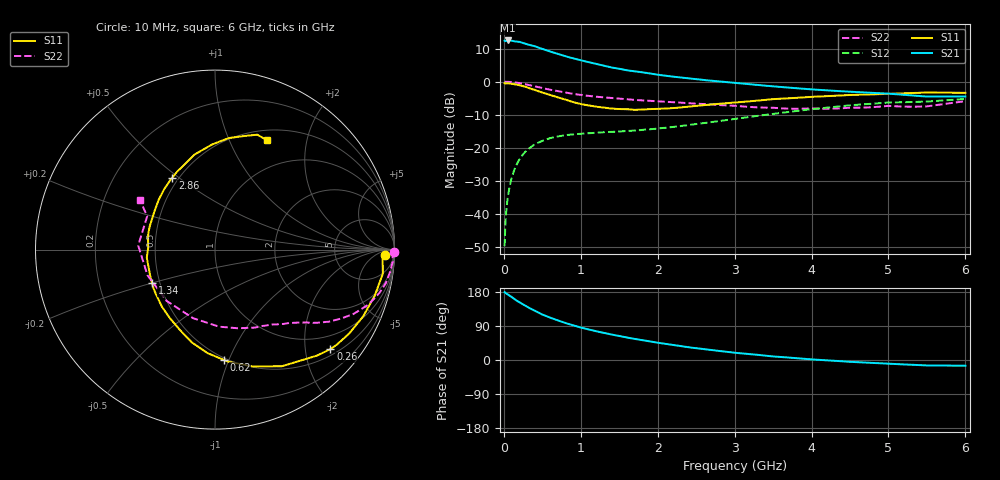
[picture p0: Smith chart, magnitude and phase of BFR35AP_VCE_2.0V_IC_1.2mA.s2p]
! Infineon Technologies  Discrete & RF Semiconductors
! BFR35AP
! VCE =  2.0 V,  IC =  1.2 mA
! Common Emitter S-Parameters:  Nov 2015
# GHz  S  MA  R  50
!  f  S11  S21  S12  S22
! GHz  MAG  ANG  MAG  ANG  MAG  ANG  MAG  ANG
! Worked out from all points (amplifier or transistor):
!   210 points, 10 MHz to 6 GHz, reference 50 ohm
!   highest |S21| = 12.5 dB at 50 MHz (marker M1)
!   |S21| within 3 dB of that: start of sweep to 555 MHz
!   unconditionally stable (mu >= 1): 1.332 GHz to end of sweep
!   at 185 MHz: K = 0.17, MSG = 18.2 dB, |S12| = -24.3 dB
!   at 1.52 GHz: K = 1.09, MAG = 7.6 dB, |S12| = -15.1 dB
!   at 6 GHz: K = 1.05, MAG = -0.9 dB, |S12| = -5.3 dB
!   S11 on the Smith chart (normalised r, x): 10 MHz: 28, -15; 260 MHz: 0.64, -2.55; 620 MHz: 0.48, -0.96; 1.34 GHz: 0.45, -0.20; 2.86 GHz: 0.46, +0.47; 6 GHz: 0.62, +1.39
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0.01  0.9459 -1.7  4.165 179.0  0.0032 88.0  1 -0.7
0.015  0.9406 -2.4  4.129 178.1  0.005 87.5  0.9946 -1.1
0.025  0.9365 -4.0  4.11 176.5  0.0086 86.7  0.9898 -1.9
0.05  0.9447 -8.2  4.196 173.1  0.017 85.6  0.9927 -3.8
0.1  0.926 -16.2  4.163 166.5  0.0341 79.8  0.9825 -7.5
0.16  0.8993 -25.8  4.04 157.7  0.0534 74.1  0.9658 -11.7
0.2  0.8819 -32.0  4.002 152.6  0.0654 70.5  0.9497 -14.4
0.26  0.8488 -40.8  3.809 145.2  0.0814 65.2  0.9201 -18.1
0.3  0.8196 -46.1  3.681 140.4  0.0915 62.5  0.9013 -20.3
0.4  0.7491 -60.2  3.442 130.1  0.1115 55.3  0.848 -25.2
0.5  0.6831 -72.3  3.127 119.9  0.1262 49.9  0.7943 -29.1
0.62  0.6167 -85.4  2.808 110.5  0.1404 44.4  0.7451 -32.7
0.8  0.5334 -103.9  2.415 97.6  0.1541 38.9  0.6818 -36.8
1.02  0.4518 -125.2  2.075 84.8  0.1623 35.2  0.6226 -40.8
1.34  0.3973 -152.1  1.694 69.8  0.1716 32.8  0.5712 -46.1
1.68  0.3742 -179.4  1.441 56.3  0.18 34.1  0.5294 -51.9
2.02  0.3866 159.1  1.261 45.0  0.1955 36.3  0.4999 -58.5
2.86  0.4663 120.7  0.99 22.5  0.2577 39.3  0.437 -81.9
3.1  0.4916 113.1  0.932 17.4  0.281 38.6  0.42 -90.9
4.1  0.5932 89.7  0.748 0.4  0.3914 30.2  0.3882 -138.5
5.1  0.6567 74.8  0.643 -10.8  0.4837 15.6  0.4216 172.4
6  0.6746 64.5  0.593 -15.0  0.5448 4.4  0.5041 146.4
